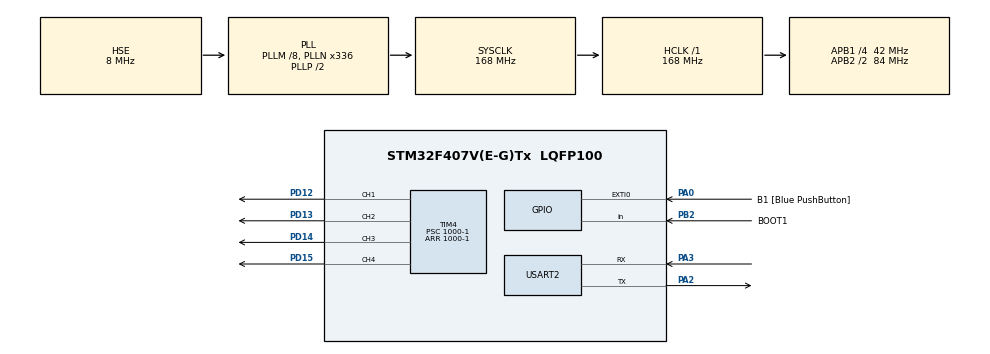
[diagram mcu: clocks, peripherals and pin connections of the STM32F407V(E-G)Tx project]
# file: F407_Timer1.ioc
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Mcu.Family=STM32F4
Mcu.Name=STM32F407V(E-G)Tx
Mcu.Package=LQFP100
NVIC.PriorityGroup=NVIC_PRIORITYGROUP_0
PA0-WKUP.GPIO_Label=B1 [Blue PushButton]
PA0-WKUP.GPIO_ModeDefaultEXTI=GPIO_MODE_EVT_RISING
PA0-WKUP.GPIO_PuPd=GPIO_NOPULL
PA0-WKUP.Signal=GPXTI0
PA10.GPIO_Label=OTG_FS_ID
PA10.GPIO_Mode=GPIO_MODE_AF_PP
PA10.GPIO_PuPd=GPIO_NOPULL
PA10.GPIO_Speed=GPIO_SPEED_FREQ_LOW
PA10.Signal=USB_OTG_FS_ID
PA11.GPIO_Label=OTG_FS_DM
PA11.GPIO_Mode=GPIO_MODE_AF_PP
PA11.GPIO_PuPd=GPIO_NOPULL
PA11.GPIO_Speed=GPIO_SPEED_FREQ_LOW
PA11.Signal=USB_OTG_FS_DM
PA12.GPIO_Label=OTG_FS_DP
PA12.GPIO_Mode=GPIO_MODE_AF_PP
PA12.GPIO_PuPd=GPIO_NOPULL
PA12.GPIO_Speed=GPIO_SPEED_FREQ_LOW
PA12.Signal=USB_OTG_FS_DP
PA13.GPIO_Label=SWDIO
PA13.Mode=Serial_Wire
PA13.Signal=SYS_JTMS-SWDIO
PA14.GPIO_Label=SWCLK
PA14.Mode=Serial_Wire
PA14.Signal=SYS_JTCK-SWCLK
PA2.Mode=Asynchronous
PA2.Signal=USART2_TX
PA3.Mode=Asynchronous
PA3.Signal=USART2_RX
PA5.GPIO_Label=SPI1_SCK [LIS302DL_SCL/SPC]
PA5.GPIO_Mode=GPIO_MODE_AF_PP
PA5.GPIO_PuPd=GPIO_NOPULL
PA5.GPIO_Speed=GPIO_SPEED_FREQ_LOW
PA5.Signal=SPI1_SCK
PA6.GPIO_Label=SPI1_MISO [LIS302DL_SDO]
PA6.GPIO_Mode=GPIO_MODE_AF_PP
PA6.GPIO_PuPd=GPIO_NOPULL
PA6.GPIO_Speed=GPIO_SPEED_FREQ_LOW
PA6.Signal=SPI1_MISO
PA7.GPIO_Label=SPI1_MOSI [LIS302DL_SDA/SDI/SDO]
PA7.GPIO_Mode=GPIO_MODE_AF_PP
PA7.GPIO_PuPd=GPIO_NOPULL
PA7.GPIO_Speed=GPIO_SPEED_FREQ_LOW
PA7.Signal=SPI1_MOSI
PA9.GPIO_Label=VBUS_FS
PA9.GPIO_Mode=GPIO_MODE_INPUT
PA9.GPIO_PuPd=GPIO_NOPULL
PA9.Signal=USB_OTG_FS_VBUS
PB10.GPIO_Label=CLK_IN [MP45DT02_CLK]
PB10.GPIO_Mode=GPIO_MODE_AF_PP
PB10.GPIO_PuPd=GPIO_NOPULL
PB10.GPIO_Speed=GPIO_SPEED_FREQ_LOW
PB10.Signal=I2S2_CK
PB2.GPIO_Label=BOOT1
PB2.GPIO_Mode=GPIO_MODE_INPUT
PB2.GPIO_PuPd=GPIO_NOPULL
PB2.Signal=GPIO_Input
PB3.GPIO_Label=SWO
PB3.Signal=SYS_JTDO-SWO
PB6.GPIO_Label=Audio_SCL [CS43L22_SCL]
PB6.GPIO_Mode=GPIO_MODE_AF_OD
PB6.GPIO_Pu=GPIO_PULLUP
PB6.GPIO_PuPd=GPIO_NOPULL
PB6.GPIO_Speed=GPIO_SPEED_FREQ_LOW
PB6.Signal=I2C1_SCL
PB9.GPIO_Label=Audio_SDA [CS43L22_SDA]
PB9.GPIO_Mode=GPIO_MODE_AF_OD
PB9.GPIO_Pu=GPIO_PULLUP
PB9.GPIO_PuPd=GPIO_NOPULL
PB9.GPIO_Speed=GPIO_SPEED_FREQ_LOW
PB9.Signal=I2C1_SDA
PC10.GPIO_Label=I2S3_SCK [CS43L22_SCLK]
PC10.GPIO_Mode=GPIO_MODE_AF_PP
PC10.GPIO_PuPd=GPIO_NOPULL
PC10.GPIO_Speed=GPIO_SPEED_FREQ_LOW
PC10.Signal=I2S3_CK
PC12.GPIO_Label=I2S3_SD [CS43L22_SDIN]
PC12.GPIO_Mode=GPIO_MODE_AF_PP
PC12.GPIO_PuPd=GPIO_NOPULL
PC12.GPIO_Speed=GPIO_SPEED_FREQ_LOW
PC12.Signal=I2S3_SD
PC14-OSC32_IN.GPIO_Label=PC14-OSC32_IN
PC14-OSC32_IN.Signal=RCC_OSC32_IN
PC15-OSC32_OUT.GPIO_Label=PC15-OSC32_OUT
PC15-OSC32_OUT.Signal=RCC_OSC32_OUT
PC3.GPIO_Label=PDM_OUT [MP45DT02_DOUT]
PC3.GPIO_Mode=GPIO_MODE_AF_PP
PC3.GPIO_PuPd=GPIO_NOPULL
PC3.GPIO_Speed=GPIO_SPEED_FREQ_LOW
PC3.Signal=I2S2_SD
PC7.GPIO_Label=I2S3_MCK [CS43L22_MCLK]
PC7.GPIO_Mode=GPIO_MODE_AF_PP
PC7.GPIO_PuPd=GPIO_NOPULL
PC7.GPIO_Speed=GPIO_SPEED_FREQ_LOW
PC7.Signal=I2S3_MCK
PD12.Signal=S_TIM4_CH1
PD13.Signal=S_TIM4_CH2
PD14.Signal=S_TIM4_CH3
PD15.Signal=S_TIM4_CH4
PH0-OSC_IN.GPIO_Label=PH0-OSC_IN
PH0-OSC_IN.Mode=HSE-External-Oscillator
PH0-OSC_IN.Signal=RCC_OSC_IN
PH1-OSC_OUT.GPIO_Label=PH1-OSC_OUT
PH1-OSC_OUT.Mode=HSE-External-Oscillator
PH1-OSC_OUT.Signal=RCC_OSC_OUT
ProjectManager.HeapSize=0x200
ProjectManager.StackSize=0x400
ProjectManager.TargetToolchain=STM32CubeIDE
RCC.48MHZClocksFreq_Value=48000000
RCC.AHBFreq_Value=168000000
RCC.APB1CLKDivider=RCC_HCLK_DIV4
RCC.APB1Freq_Value=42000000
RCC.APB1TimFreq_Value=84000000
RCC.APB2CLKDivider=RCC_HCLK_DIV2
RCC.APB2Freq_Value=84000000
RCC.APB2TimFreq_Value=168000000
RCC.CortexFreq_Value=168000000
RCC.HCLKFreq_Value=168000000
RCC.HSE_VALUE=8000000
RCC.HSI_VALUE=16000000
RCC.LSE_VALUE=32768
RCC.PLLM=8
RCC.PLLN=336
RCC.PLLQ=7
RCC.PLLSourceVirtual=RCC_PLLSOURCE_HSE
RCC.SYSCLKFreq_VALUE=168000000
RCC.SYSCLKSource=RCC_SYSCLKSOURCE_PLLCLK
RCC.VCOOutputFreq_Value=336000000
SH.S_TIM4_CH1.0=TIM4_CH1,PWM Generation1 CH1
SH.S_TIM4_CH2.0=TIM4_CH2,PWM Generation2 CH2
SH.S_TIM4_CH3.0=TIM4_CH3,PWM Generation3 CH3
SH.S_TIM4_CH4.0=TIM4_CH4,PWM Generation4 CH4
TIM4.Channel-PWM\ Generation1\ CH1=TIM_CHANNEL_1
TIM4.Channel-PWM\ Generation2\ CH2=TIM_CHANNEL_2
TIM4.Channel-PWM\ Generation3\ CH3=TIM_CHANNEL_3
TIM4.Channel-PWM\ Generation4\ CH4=TIM_CHANNEL_4
TIM4.Period=1000-1
TIM4.Prescaler=1000-1
TIM4.Pulse-PWM\ Generation1\ CH1=0
TIM4.Pulse-PWM\ Generation2\ CH2=0
TIM4.Pulse-PWM\ Generation3\ CH3=0
TIM4.Pulse-PWM\ Generation4\ CH4=0
USART2.VirtualMode=VM_ASYNC
VP_TIM4_VS_ClockSourceINT.Mode=Internal
board=STM32F407G-DISC1

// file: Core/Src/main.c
/* USER CODE BEGIN Header */
/**
  ******************************************************************************
  * @file           : main.c
  * @brief          : Main program body
  ******************************************************************************
  * Project: 	F407_Timer1
  * Board:		STM32F407G-DISC1
  *
  * We'll dim and brighten the four user LEDs using PWM signal generated by Timer 4, channels 1 through 4.
  *
  * The LEDs are fortunately on the same pins as Timer 4, channels 1 through 4.
  *
  * Here are the pins for the LEDs and the Timer 4 channels, respectively:
  * LED4 - Green - 	PD12	-	TIM4_CH1
  * LED3 - Orange - PD13	- 	TIM4_CH2
  * LED5 - Red - 	PD14	-	TIM4_CH3
  * LED6 - Blue - 	PD15	-	TIM4_CH4
  *
  * The LED pins are active high - the LED is on when the respective pin is set high.
  *
  * UART2 has been enabled so we can print back to the PC serial port using Tx pin PA2.
  * Baud rate: 115200.
  *
  *
  *
  *
  ******************************************************************************
  */
/* USER CODE END Header */
#include "main.h"

/* USER CODE BEGIN Includes */
#include <stdio.h>

/* USER CODE END Includes */

TIM_HandleTypeDef htim4;

UART_HandleTypeDef huart2;

void SystemClock_Config(void);
static void MX_GPIO_Init(void);
static void MX_USART2_UART_Init(void);
static void MX_TIM4_Init(void);

/* USER CODE BEGIN 0 */

// Send printf to uart2 (Tx is pin PA2)
int _write1(int fd, char* ptr, int len) {
  HAL_StatusTypeDef hstatus;

  if (fd == 1 || fd == 2) {
    hstatus = HAL_UART_Transmit(&huart2, (uint8_t *) ptr, len, HAL_MAX_DELAY);
    if (hstatus == HAL_OK)
      return len;
    else
      return -1;
  }
  return -1;
}

/* USER CODE END 0 */

int main(void)
{

  /* MCU Configuration--------------------------------------------------------*/

  /* Reset of all peripherals, Initializes the Flash interface and the Systick. */
  HAL_Init();

  /* Configure the system clock */
  SystemClock_Config();

  /* Initialize all configured peripherals */
  MX_GPIO_Init();
  MX_USART2_UART_Init();
  MX_TIM4_Init();
  /* USER CODE BEGIN 2 */

  printf("Program starting ...\r\n");

  // Gotta start the counter or nuthin' happens
  HAL_TIM_PWM_Start(&htim4, TIM_CHANNEL_1);
  HAL_TIM_PWM_Start(&htim4, TIM_CHANNEL_2);
  HAL_TIM_PWM_Start(&htim4, TIM_CHANNEL_3);
  HAL_TIM_PWM_Start(&htim4, TIM_CHANNEL_4);

  // Set the pulse width here - remember the maximum is 1000, which is the counter period
 // __HAL_TIM_SET_COMPARE(&htim4, TIM_CHANNEL_1, 500);

  /* USER CODE END 2 */

  /* Infinite loop */
  /* USER CODE BEGIN WHILE */

  uint32_t now = 0;
  uint32_t loop_cnt = 0;
  uint32_t next_tick = 1000;
  uint32_t next_change = 0;

  uint16_t pwm_value = 0;
  int8_t pwm_change = 10;

  while (1)
  {
	now = uwTick;     // Same as HAL_GetTick()

	 if(now >= next_tick)
	 {
		 printf("Tick %lu (loop = %lu)\r\n", now/1000, loop_cnt);

		 loop_cnt = 0;
		 next_tick = now + 1000;
	 }
	 loop_cnt++;

	 if(now >= next_change)
	 {
		 __HAL_TIM_SET_COMPARE(&htim4, TIM_CHANNEL_1, pwm_value);
		 __HAL_TIM_SET_COMPARE(&htim4, TIM_CHANNEL_2, pwm_value - 250);
		 __HAL_TIM_SET_COMPARE(&htim4, TIM_CHANNEL_3, pwm_value - 750);
		 __HAL_TIM_SET_COMPARE(&htim4, TIM_CHANNEL_4, pwm_value - 500);

		 pwm_value += pwm_change;

		 if(pwm_value == 0) pwm_change = 10;
		 if(pwm_value == 1000) pwm_change = -10;

		 next_change = now + 10;
	  		 }
  }
    /* USER CODE END WHILE */

}

void SystemClock_Config(void)
{
  RCC_OscInitTypeDef RCC_OscInitStruct = {0};
  RCC_ClkInitTypeDef RCC_ClkInitStruct = {0};

  /** Configure the main internal regulator output voltage
  */
  __HAL_RCC_PWR_CLK_ENABLE();
  __HAL_PWR_VOLTAGESCALING_CONFIG(PWR_REGULATOR_VOLTAGE_SCALE1);

  /** Initializes the RCC Oscillators according to the specified parameters
  * in the RCC_OscInitTypeDef structure.
  */
  RCC_OscInitStruct.OscillatorType = RCC_OSCILLATORTYPE_HSE;
  RCC_OscInitStruct.HSEState = RCC_HSE_ON;
  RCC_OscInitStruct.PLL.PLLState = RCC_PLL_ON;
  RCC_OscInitStruct.PLL.PLLSource = RCC_PLLSOURCE_HSE;
  RCC_OscInitStruct.PLL.PLLM = 8;
  RCC_OscInitStruct.PLL.PLLN = 336;
  RCC_OscInitStruct.PLL.PLLP = RCC_PLLP_DIV2;
  RCC_OscInitStruct.PLL.PLLQ = 7;
  if (HAL_RCC_OscConfig(&RCC_OscInitStruct) != HAL_OK)
  {
    Error_Handler();
  }

  /** Initializes the CPU, AHB and APB buses clocks
  */
  RCC_ClkInitStruct.ClockType = RCC_CLOCKTYPE_HCLK|RCC_CLOCKTYPE_SYSCLK
                              |RCC_CLOCKTYPE_PCLK1|RCC_CLOCKTYPE_PCLK2;
  RCC_ClkInitStruct.SYSCLKSource = RCC_SYSCLKSOURCE_PLLCLK;
  RCC_ClkInitStruct.AHBCLKDivider = RCC_SYSCLK_DIV1;
  RCC_ClkInitStruct.APB1CLKDivider = RCC_HCLK_DIV4;
  RCC_ClkInitStruct.APB2CLKDivider = RCC_HCLK_DIV2;

  if (HAL_RCC_ClockConfig(&RCC_ClkInitStruct, FLASH_LATENCY_5) != HAL_OK)
  {
    Error_Handler();
  }
}

static void MX_TIM4_Init(void)
{

  TIM_ClockConfigTypeDef sClockSourceConfig = {0};
  TIM_MasterConfigTypeDef sMasterConfig = {0};
  TIM_OC_InitTypeDef sConfigOC = {0};

  htim4.Instance = TIM4;
  htim4.Init.Prescaler = 1000-1;
  htim4.Init.CounterMode = TIM_COUNTERMODE_UP;
  htim4.Init.Period = 1000-1;
  htim4.Init.ClockDivision = TIM_CLOCKDIVISION_DIV1;
  htim4.Init.AutoReloadPreload = TIM_AUTORELOAD_PRELOAD_DISABLE;
  if (HAL_TIM_Base_Init(&htim4) != HAL_OK)
  {
    Error_Handler();
  }
  sClockSourceConfig.ClockSource = TIM_CLOCKSOURCE_INTERNAL;
  if (HAL_TIM_ConfigClockSource(&htim4, &sClockSourceConfig) != HAL_OK)
  {
    Error_Handler();
  }
  if (HAL_TIM_PWM_Init(&htim4) != HAL_OK)
  {
    Error_Handler();
  }
  sMasterConfig.MasterOutputTrigger = TIM_TRGO_RESET;
  sMasterConfig.MasterSlaveMode = TIM_MASTERSLAVEMODE_DISABLE;
  if (HAL_TIMEx_MasterConfigSynchronization(&htim4, &sMasterConfig) != HAL_OK)
  {
    Error_Handler();
  }
  sConfigOC.OCMode = TIM_OCMODE_PWM1;
  sConfigOC.Pulse = 0;
  sConfigOC.OCPolarity = TIM_OCPOLARITY_HIGH;
  sConfigOC.OCFastMode = TIM_OCFAST_DISABLE;
  if (HAL_TIM_PWM_ConfigChannel(&htim4, &sConfigOC, TIM_CHANNEL_1) != HAL_OK)
  {
    Error_Handler();
  }
  if (HAL_TIM_PWM_ConfigChannel(&htim4, &sConfigOC, TIM_CHANNEL_2) != HAL_OK)
  {
    Error_Handler();
  }
  if (HAL_TIM_PWM_ConfigChannel(&htim4, &sConfigOC, TIM_CHANNEL_3) != HAL_OK)
  {
    Error_Handler();
  }
  if (HAL_TIM_PWM_ConfigChannel(&htim4, &sConfigOC, TIM_CHANNEL_4) != HAL_OK)
  {
    Error_Handler();
  }
  HAL_TIM_MspPostInit(&htim4);

}

static void MX_USART2_UART_Init(void)
{

  huart2.Instance = USART2;
  huart2.Init.BaudRate = 115200;
  huart2.Init.WordLength = UART_WORDLENGTH_8B;
  huart2.Init.StopBits = UART_STOPBITS_1;
  huart2.Init.Parity = UART_PARITY_NONE;
  huart2.Init.Mode = UART_MODE_TX_RX;
  huart2.Init.HwFlowCtl = UART_HWCONTROL_NONE;
  huart2.Init.OverSampling = UART_OVERSAMPLING_16;
  if (HAL_UART_Init(&huart2) != HAL_OK)
  {
    Error_Handler();
  }

}

static void MX_GPIO_Init(void)
{
  GPIO_InitTypeDef GPIO_InitStruct = {0};

  /* GPIO Ports Clock Enable */
  __HAL_RCC_GPIOC_CLK_ENABLE();
  __HAL_RCC_GPIOH_CLK_ENABLE();
  __HAL_RCC_GPIOA_CLK_ENABLE();
  __HAL_RCC_GPIOB_CLK_ENABLE();
  __HAL_RCC_GPIOD_CLK_ENABLE();

  /*Configure GPIO pin : PDM_OUT_Pin */
  GPIO_InitStruct.Pin = PDM_OUT_Pin;
  GPIO_InitStruct.Mode = GPIO_MODE_AF_PP;
  GPIO_InitStruct.Pull = GPIO_NOPULL;
  GPIO_InitStruct.Speed = GPIO_SPEED_FREQ_LOW;
  GPIO_InitStruct.Alternate = GPIO_AF5_SPI2;
  HAL_GPIO_Init(PDM_OUT_GPIO_Port, &GPIO_InitStruct);

  /*Configure GPIO pin : B1_Pin */
  GPIO_InitStruct.Pin = B1_Pin;
  GPIO_InitStruct.Mode = GPIO_MODE_EVT_RISING;
  GPIO_InitStruct.Pull = GPIO_NOPULL;
  HAL_GPIO_Init(B1_GPIO_Port, &GPIO_InitStruct);

  /*Configure GPIO pins : SPI1_SCK_Pin SPI1_MISO_Pin SPI1_MOSI_Pin */
  GPIO_InitStruct.Pin = SPI1_SCK_Pin|SPI1_MISO_Pin|SPI1_MOSI_Pin;
  GPIO_InitStruct.Mode = GPIO_MODE_AF_PP;
  GPIO_InitStruct.Pull = GPIO_NOPULL;
  GPIO_InitStruct.Speed = GPIO_SPEED_FREQ_LOW;
  GPIO_InitStruct.Alternate = GPIO_AF5_SPI1;
  HAL_GPIO_Init(GPIOA, &GPIO_InitStruct);

  /*Configure GPIO pin : BOOT1_Pin */
  GPIO_InitStruct.Pin = BOOT1_Pin;
  GPIO_InitStruct.Mode = GPIO_MODE_INPUT;
  GPIO_InitStruct.Pull = GPIO_NOPULL;
  HAL_GPIO_Init(BOOT1_GPIO_Port, &GPIO_InitStruct);

  /*Configure GPIO pin : CLK_IN_Pin */
  GPIO_InitStruct.Pin = CLK_IN_Pin;
  GPIO_InitStruct.Mode = GPIO_MODE_AF_PP;
  GPIO_InitStruct.Pull = GPIO_NOPULL;
  GPIO_InitStruct.Speed = GPIO_SPEED_FREQ_LOW;
  GPIO_InitStruct.Alternate = GPIO_AF5_SPI2;
  HAL_GPIO_Init(CLK_IN_GPIO_Port, &GPIO_InitStruct);

  /*Configure GPIO pins : I2S3_MCK_Pin I2S3_SCK_Pin I2S3_SD_Pin */
  GPIO_InitStruct.Pin = I2S3_MCK_Pin|I2S3_SCK_Pin|I2S3_SD_Pin;
  GPIO_InitStruct.Mode = GPIO_MODE_AF_PP;
  GPIO_InitStruct.Pull = GPIO_NOPULL;
  GPIO_InitStruct.Speed = GPIO_SPEED_FREQ_LOW;
  GPIO_InitStruct.Alternate = GPIO_AF6_SPI3;
  HAL_GPIO_Init(GPIOC, &GPIO_InitStruct);

  /*Configure GPIO pin : VBUS_FS_Pin */
  GPIO_InitStruct.Pin = VBUS_FS_Pin;
  GPIO_InitStruct.Mode = GPIO_MODE_INPUT;
  GPIO_InitStruct.Pull = GPIO_NOPULL;
  HAL_GPIO_Init(VBUS_FS_GPIO_Port, &GPIO_InitStruct);

  /*Configure GPIO pins : OTG_FS_ID_Pin OTG_FS_DM_Pin OTG_FS_DP_Pin */
  GPIO_InitStruct.Pin = OTG_FS_ID_Pin|OTG_FS_DM_Pin|OTG_FS_DP_Pin;
  GPIO_InitStruct.Mode = GPIO_MODE_AF_PP;
  GPIO_InitStruct.Pull = GPIO_NOPULL;
  GPIO_InitStruct.Speed = GPIO_SPEED_FREQ_LOW;
  GPIO_InitStruct.Alternate = GPIO_AF10_OTG_FS;
  HAL_GPIO_Init(GPIOA, &GPIO_InitStruct);

  /*Configure GPIO pins : Audio_SCL_Pin Audio_SDA_Pin */
  GPIO_InitStruct.Pin = Audio_SCL_Pin|Audio_SDA_Pin;
  GPIO_InitStruct.Mode = GPIO_MODE_AF_OD;
  GPIO_InitStruct.Pull = GPIO_PULLUP;
  GPIO_InitStruct.Speed = GPIO_SPEED_FREQ_LOW;
  GPIO_InitStruct.Alternate = GPIO_AF4_I2C1;
  HAL_GPIO_Init(GPIOB, &GPIO_InitStruct);

}

void Error_Handler(void)
{
  __disable_irq();
  while (1)
  {
  }
}
